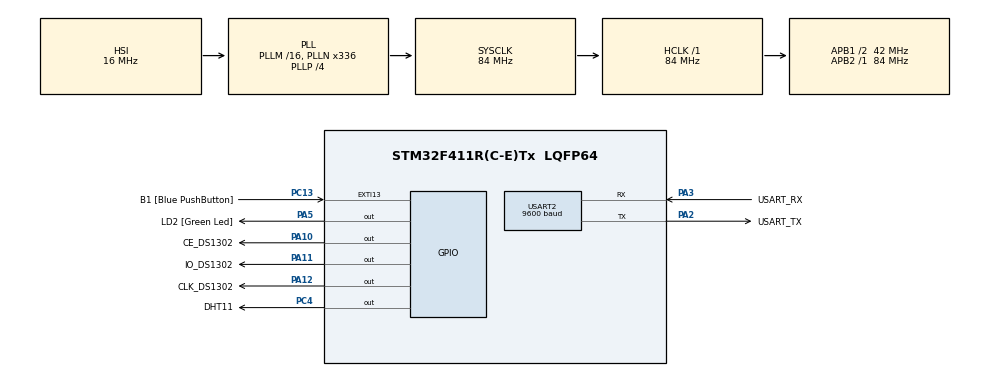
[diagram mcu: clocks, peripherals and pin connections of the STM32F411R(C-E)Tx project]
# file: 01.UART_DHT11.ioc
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Dma.Request0=USART2_RX
Dma.Request1=USART2_TX
Dma.USART2_RX.0.Direction=DMA_PERIPH_TO_MEMORY
Dma.USART2_RX.0.FIFOMode=DMA_FIFOMODE_DISABLE
Dma.USART2_RX.0.Instance=DMA1_Stream5
Dma.USART2_RX.0.MemDataAlignment=DMA_MDATAALIGN_BYTE
Dma.USART2_RX.0.MemInc=DMA_MINC_ENABLE
Dma.USART2_RX.0.Mode=DMA_CIRCULAR
Dma.USART2_RX.0.PeriphDataAlignment=DMA_PDATAALIGN_BYTE
Dma.USART2_RX.0.PeriphInc=DMA_PINC_DISABLE
Dma.USART2_RX.0.Priority=DMA_PRIORITY_LOW
Dma.USART2_TX.1.Direction=DMA_MEMORY_TO_PERIPH
Dma.USART2_TX.1.FIFOMode=DMA_FIFOMODE_DISABLE
Dma.USART2_TX.1.Instance=DMA1_Stream6
Dma.USART2_TX.1.MemDataAlignment=DMA_MDATAALIGN_BYTE
Dma.USART2_TX.1.MemInc=DMA_MINC_ENABLE
Dma.USART2_TX.1.Mode=DMA_NORMAL
Dma.USART2_TX.1.PeriphDataAlignment=DMA_PDATAALIGN_BYTE
Dma.USART2_TX.1.PeriphInc=DMA_PINC_DISABLE
Dma.USART2_TX.1.Priority=DMA_PRIORITY_LOW
Mcu.Family=STM32F4
Mcu.Name=STM32F411R(C-E)Tx
Mcu.Package=LQFP64
NVIC.DMA1_Stream5_IRQn=true\:0\:0\:false\:false\:true\:false\:true\:true
NVIC.DMA1_Stream6_IRQn=true\:0\:0\:false\:false\:true\:false\:true\:true
NVIC.PriorityGroup=NVIC_PRIORITYGROUP_0
NVIC.TIM1_CC_IRQn=true\:0\:0\:false\:false\:true\:true\:true\:true
NVIC.USART2_IRQn=true\:0\:0\:false\:false\:true\:true\:true\:true
PA10.GPIO_Label=CE_DS1302
PA10.Signal=GPIO_Output
PA11.GPIO_Label=IO_DS1302
PA11.Signal=GPIO_Output
PA12.GPIO_Label=CLK_DS1302
PA12.Signal=GPIO_Output
PA13.GPIO_Label=TMS
PA13.Mode=Serial_Wire
PA13.Signal=SYS_JTMS-SWDIO
PA14.GPIO_Label=TCK
PA14.Mode=Serial_Wire
PA14.Signal=SYS_JTCK-SWCLK
PA2.GPIO_Label=USART_TX
PA2.Mode=Asynchronous
PA2.Signal=USART2_TX
PA3.GPIO_Label=USART_RX
PA3.Mode=Asynchronous
PA3.Signal=USART2_RX
PA5.GPIO_Label=LD2 [Green Led]
PA5.Signal=GPIO_Output
PB3.GPIO_Label=SWO
PB3.Signal=SYS_JTDO-SWO
PC13-ANTI_TAMP.GPIO_Label=B1 [Blue PushButton]
PC13-ANTI_TAMP.GPIO_ModeDefaultEXTI=GPIO_MODE_IT_FALLING
PC13-ANTI_TAMP.Signal=GPXTI13
PC14-OSC32_IN.Mode=LSE-External-Oscillator
PC14-OSC32_IN.Signal=RCC_OSC32_IN
PC15-OSC32_OUT.Mode=LSE-External-Oscillator
PC15-OSC32_OUT.Signal=RCC_OSC32_OUT
PC4.GPIO_Label=DHT11
PC4.GPIO_ModeDefaultOutputPP=GPIO_MODE_OUTPUT_PP
PC4.GPIO_PuPd=GPIO_NOPULL
PC4.Signal=GPIO_Output
PH0\ -\ OSC_IN.Mode=HSE-External-Clock-Source
PH0\ -\ OSC_IN.Signal=RCC_OSC_IN
PH1\ -\ OSC_OUT.Mode=HSE-External-Clock-Source
PH1\ -\ OSC_OUT.Signal=RCC_OSC_OUT
ProjectManager.HeapSize=0x200
ProjectManager.StackSize=0x400
ProjectManager.TargetToolchain=STM32CubeIDE
RCC.48MHZClocksFreq_Value=84000000
RCC.AHBFreq_Value=84000000
RCC.APB1CLKDivider=RCC_HCLK_DIV2
RCC.APB1Freq_Value=42000000
RCC.APB1TimFreq_Value=84000000
RCC.APB2Freq_Value=84000000
RCC.APB2TimFreq_Value=84000000
RCC.CortexFreq_Value=84000000
RCC.FLatency-AdvancedSettings=FLASH_LATENCY_2
RCC.HCLKFreq_Value=84000000
RCC.HSE_VALUE=8000000
RCC.HSI_VALUE=16000000
RCC.PLLN=336
RCC.PLLP=RCC_PLLP_DIV4
RCC.RCC_RTC_Clock_Source=RCC_RTCCLKSOURCE_LSI
RCC.RCC_RTC_Clock_SourceVirtual=RCC_RTCCLKSOURCE_LSI
RCC.SYSCLKFreq_VALUE=84000000
RCC.SYSCLKSource=RCC_SYSCLKSOURCE_PLLCLK
RCC.VCOOutputFreq_Value=336000000
TIM1.Channel-Output\ Compare1\ No\ Output=TIM_CHANNEL_1
TIM1.Period=10000-1
TIM1.Prescaler=84-1
TIM11.Channel=TIM_CHANNEL_1
TIM11.Period=100
TIM11.Prescaler=84-1
USART2.BaudRate=9600
USART2.VirtualMode=VM_ASYNC
VP_TIM11_VS_ClockSourceINT.Mode=Enable_Timer
VP_TIM11_VS_no_output1.Mode=Output Compare1 No Output
VP_TIM1_VS_no_output1.Mode=Output Compare1 No Output
board=NUCLEO-F411RE

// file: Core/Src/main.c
/* USER CODE BEGIN Header */
/**
  ******************************************************************************
  * @file           : main.c
  * @brief          : Main program body
  ******************************************************************************
  * @attention
  *
  * Copyright (c) 2025 STMicroelectronics.
  * All rights reserved.
  *
  * This software is licensed under terms that can be found in the LICENSE file
  * in the root directory of this software component.
  * If no LICENSE file comes with this software, it is provided AS-IS.
  *
  ******************************************************************************
  */
/* USER CODE END Header */
#include "main.h"

/* USER CODE BEGIN Includes */
#include <stdio.h>
#include <ds1302.h>
/* USER CODE END Includes */

TIM_HandleTypeDef htim1;
TIM_HandleTypeDef htim11;

UART_HandleTypeDef huart2;
DMA_HandleTypeDef hdma_usart2_rx;
DMA_HandleTypeDef hdma_usart2_tx;

void SystemClock_Config(void);
static void MX_GPIO_Init(void);
static void MX_DMA_Init(void);
static void MX_USART2_UART_Init(void);
static void MX_TIM1_Init(void);
static void MX_TIM11_Init(void);
/* USER CODE BEGIN PFP */
extern void dht11_main();
/* USER CODE END PFP */

/* USER CODE BEGIN 0 */
#ifdef __GNUC__    // Add for printf
/* With GCC, small printf (option LD Linker->Libraries->Small printf
   set to 'Yes') calls __io_putchar() */
#define PUTCHAR_PROTOTYPE int __io_putchar(int ch)
#else
#define PUTCHAR_PROTOTYPE int fputc(int ch, FILE *f)
#endif /* __GNUC__ */
/**
  * @brief  Retargets the C library printf function to the USART.
  * @param  None
  * @retval None
  */
PUTCHAR_PROTOTYPE   // Add for printf
{
  /* Place your implementation of fputc here */
  /* e.g. write a character to the USART3 and Loop until the end of transmission */
  HAL_UART_Transmit(&huart2, (uint8_t *)&ch, 1, 0xFFFF);

  return ch;
}

void delay_us(uint32_t us){
	__HAL_TIM_SET_COUNTER(&htim11, 0);
	while(__HAL_TIM_GET_COUNTER(&htim11) < us){}
}
/* USER CODE END 0 */

int main(void)
{

  /* MCU Configuration--------------------------------------------------------*/

  /* Reset of all peripherals, Initializes the Flash interface and the Systick. */
  HAL_Init();

  /* Configure the system clock */
  SystemClock_Config();

  /* Initialize all configured peripherals */
  MX_GPIO_Init();
  MX_DMA_Init();
  MX_USART2_UART_Init();
  MX_TIM1_Init();
  MX_TIM11_Init();
  /* USER CODE BEGIN 2 */
  HAL_TIM_OC_Start_IT(&htim1, TIM_CHANNEL_1);
  HAL_TIM_OC_Start(&htim11, TIM_CHANNEL_1);
  /* USER CODE END 2 */

  /* Infinite loop */
  /* USER CODE BEGIN WHILE */
  ds1302_main();
  while (1)
  {
//	  dht11_main();
    /* USER CODE END WHILE */

  }
}

void SystemClock_Config(void)
{
  RCC_OscInitTypeDef RCC_OscInitStruct = {0};
  RCC_ClkInitTypeDef RCC_ClkInitStruct = {0};

  /** Configure the main internal regulator output voltage
  */
  __HAL_RCC_PWR_CLK_ENABLE();
  __HAL_PWR_VOLTAGESCALING_CONFIG(PWR_REGULATOR_VOLTAGE_SCALE1);

  /** Initializes the RCC Oscillators according to the specified parameters
  * in the RCC_OscInitTypeDef structure.
  */
  RCC_OscInitStruct.OscillatorType = RCC_OSCILLATORTYPE_HSI;
  RCC_OscInitStruct.HSIState = RCC_HSI_ON;
  RCC_OscInitStruct.HSICalibrationValue = RCC_HSICALIBRATION_DEFAULT;
  RCC_OscInitStruct.PLL.PLLState = RCC_PLL_ON;
  RCC_OscInitStruct.PLL.PLLSource = RCC_PLLSOURCE_HSI;
  RCC_OscInitStruct.PLL.PLLM = 16;
  RCC_OscInitStruct.PLL.PLLN = 336;
  RCC_OscInitStruct.PLL.PLLP = RCC_PLLP_DIV4;
  RCC_OscInitStruct.PLL.PLLQ = 4;
  if (HAL_RCC_OscConfig(&RCC_OscInitStruct) != HAL_OK)
  {
    Error_Handler();
  }

  /** Initializes the CPU, AHB and APB buses clocks
  */
  RCC_ClkInitStruct.ClockType = RCC_CLOCKTYPE_HCLK|RCC_CLOCKTYPE_SYSCLK
                              |RCC_CLOCKTYPE_PCLK1|RCC_CLOCKTYPE_PCLK2;
  RCC_ClkInitStruct.SYSCLKSource = RCC_SYSCLKSOURCE_PLLCLK;
  RCC_ClkInitStruct.AHBCLKDivider = RCC_SYSCLK_DIV1;
  RCC_ClkInitStruct.APB1CLKDivider = RCC_HCLK_DIV2;
  RCC_ClkInitStruct.APB2CLKDivider = RCC_HCLK_DIV1;

  if (HAL_RCC_ClockConfig(&RCC_ClkInitStruct, FLASH_LATENCY_2) != HAL_OK)
  {
    Error_Handler();
  }
}

static void MX_TIM1_Init(void)
{

  TIM_MasterConfigTypeDef sMasterConfig = {0};
  TIM_OC_InitTypeDef sConfigOC = {0};
  TIM_BreakDeadTimeConfigTypeDef sBreakDeadTimeConfig = {0};

  htim1.Instance = TIM1;
  htim1.Init.Prescaler = 84-1;
  htim1.Init.CounterMode = TIM_COUNTERMODE_UP;
  htim1.Init.Period = 10000-1;
  htim1.Init.ClockDivision = TIM_CLOCKDIVISION_DIV1;
  htim1.Init.RepetitionCounter = 0;
  htim1.Init.AutoReloadPreload = TIM_AUTORELOAD_PRELOAD_DISABLE;
  if (HAL_TIM_OC_Init(&htim1) != HAL_OK)
  {
    Error_Handler();
  }
  sMasterConfig.MasterOutputTrigger = TIM_TRGO_RESET;
  sMasterConfig.MasterSlaveMode = TIM_MASTERSLAVEMODE_DISABLE;
  if (HAL_TIMEx_MasterConfigSynchronization(&htim1, &sMasterConfig) != HAL_OK)
  {
    Error_Handler();
  }
  sConfigOC.OCMode = TIM_OCMODE_TIMING;
  sConfigOC.Pulse = 0;
  sConfigOC.OCPolarity = TIM_OCPOLARITY_HIGH;
  sConfigOC.OCNPolarity = TIM_OCNPOLARITY_HIGH;
  sConfigOC.OCFastMode = TIM_OCFAST_DISABLE;
  sConfigOC.OCIdleState = TIM_OCIDLESTATE_RESET;
  sConfigOC.OCNIdleState = TIM_OCNIDLESTATE_RESET;
  if (HAL_TIM_OC_ConfigChannel(&htim1, &sConfigOC, TIM_CHANNEL_1) != HAL_OK)
  {
    Error_Handler();
  }
  sBreakDeadTimeConfig.OffStateRunMode = TIM_OSSR_DISABLE;
  sBreakDeadTimeConfig.OffStateIDLEMode = TIM_OSSI_DISABLE;
  sBreakDeadTimeConfig.LockLevel = TIM_LOCKLEVEL_OFF;
  sBreakDeadTimeConfig.DeadTime = 0;
  sBreakDeadTimeConfig.BreakState = TIM_BREAK_DISABLE;
  sBreakDeadTimeConfig.BreakPolarity = TIM_BREAKPOLARITY_HIGH;
  sBreakDeadTimeConfig.AutomaticOutput = TIM_AUTOMATICOUTPUT_DISABLE;
  if (HAL_TIMEx_ConfigBreakDeadTime(&htim1, &sBreakDeadTimeConfig) != HAL_OK)
  {
    Error_Handler();
  }

}

static void MX_TIM11_Init(void)
{

  TIM_OC_InitTypeDef sConfigOC = {0};

  htim11.Instance = TIM11;
  htim11.Init.Prescaler = 84-1;
  htim11.Init.CounterMode = TIM_COUNTERMODE_UP;
  htim11.Init.Period = 100;
  htim11.Init.ClockDivision = TIM_CLOCKDIVISION_DIV1;
  htim11.Init.AutoReloadPreload = TIM_AUTORELOAD_PRELOAD_DISABLE;
  if (HAL_TIM_Base_Init(&htim11) != HAL_OK)
  {
    Error_Handler();
  }
  if (HAL_TIM_OC_Init(&htim11) != HAL_OK)
  {
    Error_Handler();
  }
  sConfigOC.OCMode = TIM_OCMODE_TIMING;
  sConfigOC.Pulse = 0;
  sConfigOC.OCPolarity = TIM_OCPOLARITY_HIGH;
  sConfigOC.OCFastMode = TIM_OCFAST_DISABLE;
  if (HAL_TIM_OC_ConfigChannel(&htim11, &sConfigOC, TIM_CHANNEL_1) != HAL_OK)
  {
    Error_Handler();
  }

}

static void MX_USART2_UART_Init(void)
{

  huart2.Instance = USART2;
  huart2.Init.BaudRate = 9600;
  huart2.Init.WordLength = UART_WORDLENGTH_8B;
  huart2.Init.StopBits = UART_STOPBITS_1;
  huart2.Init.Parity = UART_PARITY_NONE;
  huart2.Init.Mode = UART_MODE_TX_RX;
  huart2.Init.HwFlowCtl = UART_HWCONTROL_NONE;
  huart2.Init.OverSampling = UART_OVERSAMPLING_16;
  if (HAL_UART_Init(&huart2) != HAL_OK)
  {
    Error_Handler();
  }

}

static void MX_DMA_Init(void)
{

  /* DMA controller clock enable */
  __HAL_RCC_DMA1_CLK_ENABLE();

  /* DMA interrupt init */
  /* DMA1_Stream5_IRQn interrupt configuration */
  HAL_NVIC_SetPriority(DMA1_Stream5_IRQn, 0, 0);
  HAL_NVIC_EnableIRQ(DMA1_Stream5_IRQn);
  /* DMA1_Stream6_IRQn interrupt configuration */
  HAL_NVIC_SetPriority(DMA1_Stream6_IRQn, 0, 0);
  HAL_NVIC_EnableIRQ(DMA1_Stream6_IRQn);

}

static void MX_GPIO_Init(void)
{
  GPIO_InitTypeDef GPIO_InitStruct = {0};

  /* GPIO Ports Clock Enable */
  __HAL_RCC_GPIOC_CLK_ENABLE();
  __HAL_RCC_GPIOH_CLK_ENABLE();
  __HAL_RCC_GPIOA_CLK_ENABLE();
  __HAL_RCC_GPIOB_CLK_ENABLE();

  /*Configure GPIO pin Output Level */
  HAL_GPIO_WritePin(GPIOA, LD2_Pin|CE_DS1302_Pin|IO_DS1302_Pin|CLK_DS1302_Pin, GPIO_PIN_RESET);

  /*Configure GPIO pin Output Level */
  HAL_GPIO_WritePin(DHT11_GPIO_Port, DHT11_Pin, GPIO_PIN_RESET);

  /*Configure GPIO pin : B1_Pin */
  GPIO_InitStruct.Pin = B1_Pin;
  GPIO_InitStruct.Mode = GPIO_MODE_IT_FALLING;
  GPIO_InitStruct.Pull = GPIO_NOPULL;
  HAL_GPIO_Init(B1_GPIO_Port, &GPIO_InitStruct);

  /*Configure GPIO pins : LD2_Pin CE_DS1302_Pin IO_DS1302_Pin CLK_DS1302_Pin */
  GPIO_InitStruct.Pin = LD2_Pin|CE_DS1302_Pin|IO_DS1302_Pin|CLK_DS1302_Pin;
  GPIO_InitStruct.Mode = GPIO_MODE_OUTPUT_PP;
  GPIO_InitStruct.Pull = GPIO_NOPULL;
  GPIO_InitStruct.Speed = GPIO_SPEED_FREQ_LOW;
  HAL_GPIO_Init(GPIOA, &GPIO_InitStruct);

  /*Configure GPIO pin : DHT11_Pin */
  GPIO_InitStruct.Pin = DHT11_Pin;
  GPIO_InitStruct.Mode = GPIO_MODE_OUTPUT_PP;
  GPIO_InitStruct.Pull = GPIO_NOPULL;
  GPIO_InitStruct.Speed = GPIO_SPEED_FREQ_LOW;
  HAL_GPIO_Init(DHT11_GPIO_Port, &GPIO_InitStruct);

}

void Error_Handler(void)
{
  __disable_irq();
  while (1)
  {
  }
}
